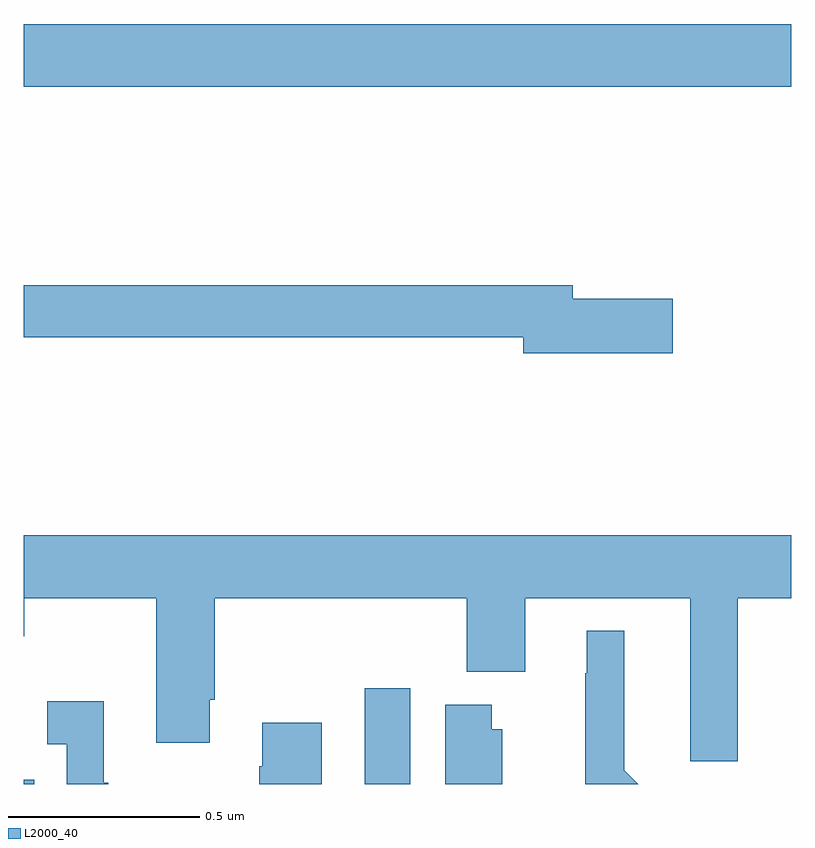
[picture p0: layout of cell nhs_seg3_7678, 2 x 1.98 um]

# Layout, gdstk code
import gdstk
lib = gdstk.Library(unit=1e-6, precision=1e-09)
def R(c, l, rs):  # rectangles x0, y0, x1, y1
    for r in rs: c.add(gdstk.rectangle(r[:2], r[2:], *l))
def P(c, l, *ps):  # polygons
    for p in ps: c.add(gdstk.Polygon(p, *l))
L2000_40 = (2000, 40)

nhs_seg3_7678 = lib.new_cell('nhs_seg3_7678')
R(nhs_seg3_7678, L2000_40, [(206,732.4,206.027,732.411), (206.888,732.4,207.007,732.649), (206,734.216,208,734.38)])
P(nhs_seg3_7678, L2000_40, [(207.691,733.664),(207.43,733.664),(207.43,733.7),(206,733.7),(206,733.564),(207.302,733.564),(207.302,733.522),(207.691,733.522)],
  [(206,732.785),(206.001,732.785),(206.001,732.884),(206.345,732.884),(206.345,732.507),(206.485,732.507),(206.485,732.619),(206.498,732.619),(206.498,732.884),(207.155,732.884),(207.155,732.692),(207.307,732.692),(207.307,732.884),(207.737,732.884),(207.737,732.459),(207.86,732.459),(207.86,732.884),(208,732.884),(208,733.048),(206,733.048)],
  [(207.565,732.436),(207.565,732.799),(207.467,732.799),(207.467,732.689),(207.463,732.689),(207.463,732.4),(207.601,732.4)],
  [(206.221,732.403),(206.209,732.403),(206.209,732.616),(206.061,732.616),(206.061,732.503),(206.112,732.503),(206.112,732.4),(206.221,732.4)],
  [(207.247,732.543),(207.22,732.543),(207.22,732.607),(207.098,732.607),(207.098,732.4),(207.247,732.4)],
  [(206.776,732.559),(206.621,732.559),(206.621,732.446),(206.614,732.446),(206.614,732.4),(206.776,732.4)])

lib.write_gds('nhs_seg3_7678.gds')
